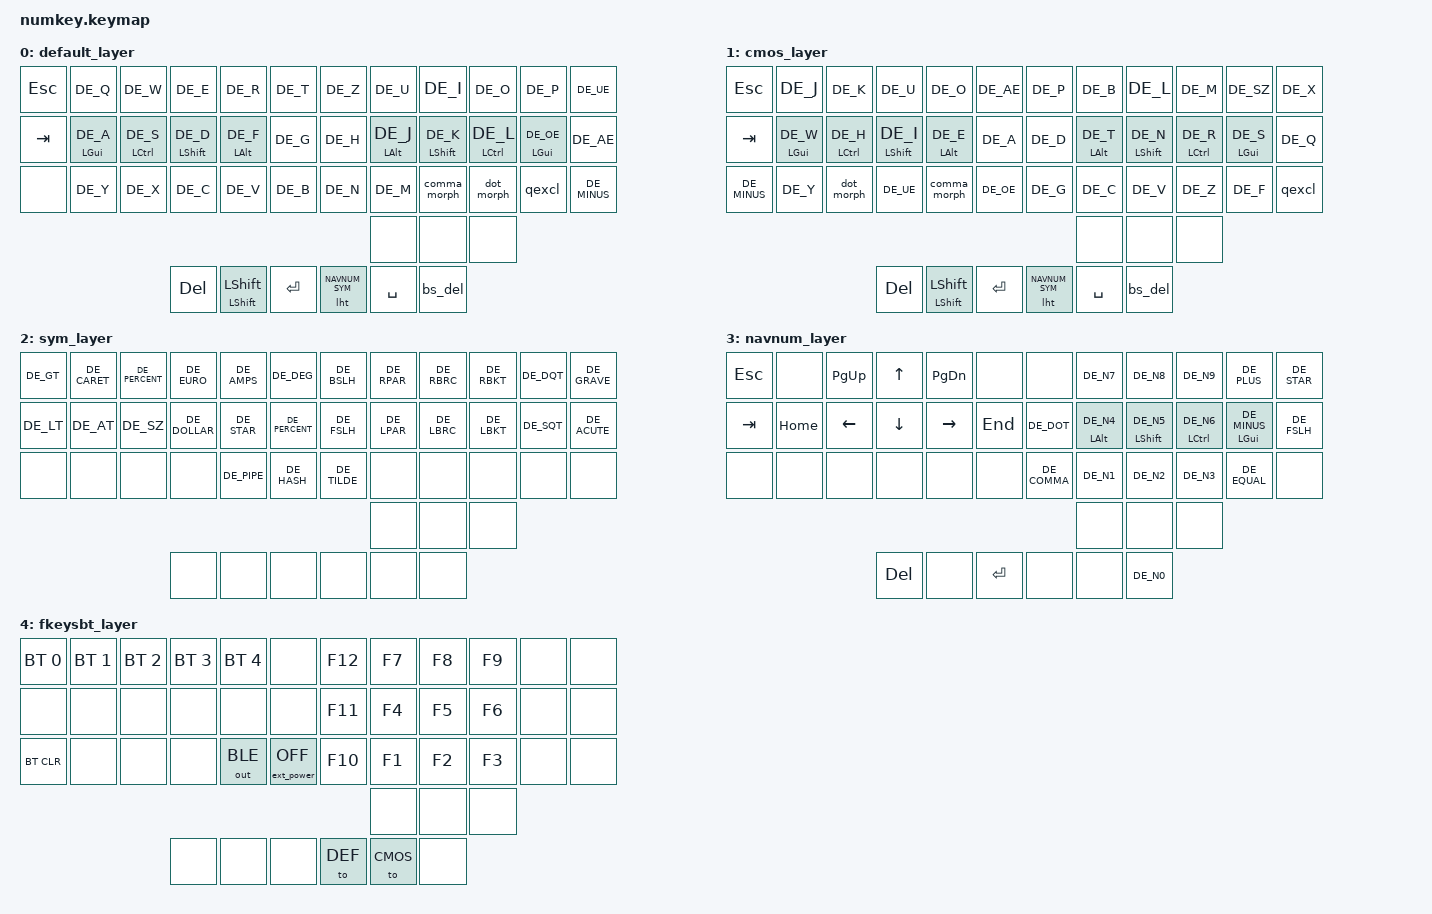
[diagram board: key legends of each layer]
#include <behaviors.dtsi>
#include <dt-bindings/zmk/bt.h>
#include <dt-bindings/zmk/ext_power.h>
#include <dt-bindings/zmk/outputs.h>
#include <dt-bindings/zmk/keys.h>

#include "keys_de.h"

#include "zmk-helpers/helper.h"
#include "numkey.h"

/* layer and key shortcuts */

#define ___ &trans
#define xxx &none

#define DEF 0// layer shortcuts, must match order in which they are defined below
#define CMOS 1
#define SYM 2
#define NAVNUM 3
#define FKEYBT 4


/* custom behaviors */

/* Global settings */

#define QUICK_TAP_MS 175

&sk {  // sticky-key config
    release-after-ms = <900>;  // release after 0.6s
    quick-release;             // no double capitalization when rolling keys
};

&sl {  // sticky-layer config
    ignore-modifiers;          // allow chording sticky mods & layers
};

&lt {  // layer-tap config
    flavor = "balanced";
    tapping-term-ms = <200>;
    quick-tap-ms = <QUICK_TAP_MS>;
};

/* Homerow mods */

#define KEYS_L LT0 LT1 LT2 LT3 LT4 LT5 LM0 LM1 LM2 LM3 LM4 LM5 LB0 LB1 LB2 LB3 LB4 LB5  // left hand
#define KEYS_R RT0 RT1 RT2 RT3 RT4 RT5 RM0 RM1 RM2 RM3 RM4 RM5 RB0 RB1 RB2 RB3 RB4 RB5 RN1 RN2 RN3// right hand
#define THUMBS LH2 LH1 LH0 RH0 RH1 RH2                                      // thumbs

ZMK_HOLD_TAP(hml,
    flavor = "balanced";
    tapping-term-ms = <200>;
    require-prior-idle-ms = <150>;
    hold-trigger-key-positions = <KEYS_R THUMBS>;
    hold-trigger-on-release;
    bindings = <&kp>, <&kp>;
)

ZMK_HOLD_TAP(hmr,
    flavor = "balanced";
    tapping-term-ms = <200>;
    require-prior-idle-ms = <150>;
    hold-trigger-key-positions = <KEYS_L THUMBS>;
    hold-trigger-on-release;
    bindings = <&kp>, <&kp>;
)

/* Key Mods */

// tap: copy | double-tap: cut
ZMK_TAP_DANCE(copy_cut,
    tapping-term-ms = <200>;
    bindings = <&kp LC(INS)>, <&kp LC(X)>;
)

// tap: sticky key| hold: keypress
ZMK_BEHAVIOR(ht, hold_tap,
    flavor = "balanced";
    tapping-term-ms = <200>;
    quick-tap-ms = <QUICK_TAP_MS>;
    bindings = <&kp>, <&sk>;
)

// tap: sticky layer | hold: change layer
ZMK_BEHAVIOR(lht, hold_tap,
    flavor = "balanced";
    tapping-term-ms = <200>;
    quick-tap-ms = <QUICK_TAP_MS>;
    bindings = <&mo>, <&sl>;
)

#define SIMPLE_MORPH(NAME, MOD, BINDING1, BINDING2) \
    ZMK_BEHAVIOR(NAME, mod_morph, \
        mods = <(MOD_L ## MOD|MOD_R ## MOD)>; \
        bindings = <BINDING1>, <BINDING2>; \
    )

// tap: backspace | shift + tap: delete
ZMK_BEHAVIOR(bs_del, mod_morph,
    bindings = <&kp BSPC>, <&kp DEL>;
    mods = <(MOD_LSFT|MOD_RSFT)>;
)

// tap: comma | shift + tap: semicolon
SIMPLE_MORPH(comma_morph, SFT, &kp DE_COMMA, &kp DE_SEMI)

// tap: dot | shift + tap: colon
SIMPLE_MORPH(dot_morph, SFT, &kp DE_DOT, &kp DE_COLON)

// tap: qmark | shift + tap: excl
SIMPLE_MORPH(qexcl, SFT, &kp DE_QMARK, &kp DE_EXCL)


// windows + right
ZMK_BEHAVIOR(winright, macro,
    bindings = <&macro_press &kp LGUI>, <&macro_tap &kp RIGHT>, <&macro_release &kp LGUI>;
)
// windows + left
ZMK_BEHAVIOR(winleft, macro,
    bindings = <&macro_press &kp LGUI>, <&macro_tap &kp LEFT>, <&macro_release &kp LGUI>;
)
// windows ctrl + right
ZMK_BEHAVIOR(winctrlright, macro,
    bindings = <&macro_press &kp LGUI>, <&macro_press &kp LCTRL>, <&macro_tap &kp RIGHT>, <&macro_release &kp LGUI>, <&macro_release &kp LCTRL>;
)
// windows + ctrl
ZMK_BEHAVIOR(winctrlleft, macro,
    bindings = <&macro_press &kp LGUI>,<&macro_press &kp LCTRL>, <&macro_tap &kp LEFT>, <&macro_release &kp LGUI>, <&macro_release &kp LCTRL>;
)
// windows + paste
ZMK_BEHAVIOR(winpaste, macro,
    bindings = <&macro_press &kp LGUI>, <&macro_tap &kp DE_V>, <&macro_release &kp LGUI>;
)

// combos
//#undef COMBO_TERM
//#define COMBO_TERM 75  // timeout of 75ms (default is 30ms if omitted)

ZMK_COMBO(combo_cut,         &kp LC(DE_X),  LB3 LB4, DEF SYM NAVNUM CMOS)  // Ctrl + X, active on all layers
ZMK_COMBO(combo_copy,         &kp LC(DE_C),  LB2 LB3, DEF SYM NAVNUM CMOS)  // Ctrl + C, active on all layers
ZMK_COMBO(combo_paste,        &kp LC(DE_V),  LB1 LB2, DEF SYM NAVNUM CMOS)  // Ctrl + V, active on all layers
ZMK_COMBO(combo_winpaste,     &winpaste,  LB0 LB1, DEF SYM NAVNUM CMOS)  // Win + V, active on all layers
ZMK_COMBO(combo_winctrlleft,  &winctrlleft,  RT1 RT2, DEF SYM NAVNUM CMOS)  // Win + CTRL + Left, active on all layers
ZMK_COMBO(combo_winctrlright, &winctrlright, RT2 RT3, DEF SYM NAVNUM CMOS)  // Win + CTRL + Right, active on all layers
ZMK_COMBO(combo_winright,     &winright,  LT2 LT3, DEF SYM NAVNUM CMOS)  // Win + Right, active on all layers
ZMK_COMBO(combo_winleft,      &winleft,  LT1 LT2, DEF SYM NAVNUM CMOS)  // Win + Left, active on all layers
ZMK_COMBO(combo_LT3,          &to FKEYBT,    RT4 RT5, DEF SYM NAVNUM CMOS)  //Always go to Layer FKEYS&BT

/* keymap */

ZMK_LAYER(default_layer,
     // ╭────────────────┬────────────────┬────────────────┬────────────────┬────────────────┬────────────────╮     ╭────────────────┬────────────────┬────────────────┬────────────────┬────────────────┬────────────────╮
         &kp ESC          &kp DE_Q         &kp DE_W         &kp DE_E         &kp DE_R         &kp DE_T               &kp DE_Z         &kp DE_U         &kp DE_I         &kp DE_O         &kp DE_P         &kp DE_UE
     // ├────────────────┬────────────────┼────────────────┼────────────────┼────────────────┼────────────────┤     ├────────────────┼────────────────┼────────────────┼────────────────┼────────────────┬────────────────┤
         &kp TAB          &hml LGUI DE_A   &hml LCTRL DE_S  &hml LSHFT DE_D  &hml LALT DE_F   &kp DE_G               &kp DE_H         &hmr LALT DE_J   &hmr LSHFT DE_K  &hmr LCTRL DE_L  &hmr LGUI DE_OE  &kp DE_AE
     // ├────────────────┬────────────────┼────────────────┼────────────────┼────────────────┼────────────────┤     ├────────────────┼────────────────┼────────────────┼────────────────┼────────────────┬────────────────┤
         xxx              &kp DE_Y         &kp DE_X         &kp DE_C         &kp DE_V         &kp DE_B               &kp DE_N         &kp DE_M         &comma_morph     &dot_morph       &qexcl           &kp DE_MINUS
     // ╰────────────────┬────────────────┼────────────────┼────────────────┼────────────────┼────────────────┤     ├────────────────┼────────────────┼────────────────┼────────────────┼────────────────┬────────────────╯
                                                                                                                                      xxx              xxx              xxx
     //                                                    ╰────────────────┼────────────────┼────────────────┤     ├────────────────┼────────────────┼────────────────┼────────────────╯
                                                            &kp DEL          &ht LSHFT LSHFT  &kp RET                &lht NAVNUM SYM  &kp SPACE        &bs_del
     //                                                    ╰────────────────┴────────────────┴────────────────╯     ╰────────────────┴────────────────┴────────────────╯
)

ZMK_LAYER(cmos_layer,
     // ╭────────────────┬────────────────┬────────────────┬────────────────┬────────────────┬────────────────╮     ╭────────────────┬────────────────┬────────────────┬────────────────┬────────────────┬────────────────╮
         &kp ESC          &kp DE_J         &kp DE_K         &kp DE_U         &kp DE_O         &kp DE_AE              &kp DE_P         &kp DE_B         &kp DE_L         &kp DE_M         &kp DE_SZ        &kp DE_X
     // ├────────────────┬────────────────┼────────────────┼────────────────┼────────────────┼────────────────┤     ├────────────────┼────────────────┼────────────────┼────────────────┼────────────────┬────────────────┤
         &kp TAB          &hml LGUI DE_W   &hml LCTRL DE_H  &hml LSHFT DE_I  &hml LALT DE_E   &kp DE_A               &kp DE_D         &hmr LALT DE_T   &hmr LSHFT DE_N  &hmr LCTRL DE_R  &hmr LGUI DE_S   &kp DE_Q
     // ├────────────────┬────────────────┼────────────────┼────────────────┼────────────────┼────────────────┤     ├────────────────┼────────────────┼────────────────┼────────────────┼────────────────┬────────────────┤
         &kp DE_MINUS     &kp DE_Y         &dot_morph       &kp DE_UE        &comma_morph     &kp DE_OE              &kp DE_G         &kp DE_C         &kp DE_V         &kp DE_Z         &kp DE_F         &qexcl
     // ╰────────────────┬────────────────┼────────────────┼────────────────┼────────────────┼────────────────┤     ├────────────────┼────────────────┼────────────────┼────────────────┼────────────────┬────────────────╯
                                                                                                                                      xxx              xxx              xxx
     //                                                    ╰────────────────┼────────────────┼────────────────┤     ├────────────────┼────────────────┼────────────────┼────────────────╯
                                                            &kp DEL          &ht LSHFT LSHFT  &kp RET                &lht NAVNUM SYM  &kp SPACE        &bs_del
     //                                                    ╰────────────────┴────────────────┴────────────────╯     ╰────────────────┴────────────────┴────────────────╯
)

ZMK_LAYER(sym_layer,
     // ╭─────────────┬─────────────┬─────────────┬─────────────┬─────────────┬─────────────╮   ╭─────────────┬─────────────┬─────────────┬─────────────┬─────────────┬─────────────╮
         &kp DE_GT     &kp DE_CARET &kp DE_PERCENT &kp DE_EURO   &kp DE_AMPS   &kp DE_DEG        &kp DE_BSLH   &kp DE_RPAR   &kp DE_RBRC   &kp DE_RBKT   &kp DE_DQT    &kp DE_GRAVE
     // ├─────────────┬─────────────┼─────────────┼─────────────┼─────────────┼─────────────┤   ├─────────────┼─────────────┼─────────────┼─────────────┼─────────────┬─────────────┤
         &kp DE_LT     &kp DE_AT     &kp DE_SZ     &kp DE_DOLLAR &kp DE_STAR   &kp DE_PERCENT    &kp DE_FSLH   &kp DE_LPAR   &kp DE_LBRC   &kp DE_LBKT   &kp DE_SQT    &kp DE_ACUTE
     // ├─────────────┬─────────────┼─────────────┼─────────────┼─────────────┼─────────────┤   ├─────────────┼─────────────┼─────────────┼─────────────┼─────────────┬─────────────┤
         xxx           xxx           xxx           xxx           &kp DE_PIPE   &kp DE_HASH       &kp DE_TILDE  xxx           xxx           xxx           xxx           xxx
     // ╰─────────────┬─────────────┼─────────────┼─────────────┼─────────────┼─────────────┤   ├─────────────┼─────────────┼─────────────┼─────────────┼─────────────┬─────────────╯
                                                                                                               xxx           xxx           xxx
     //                                           ╰─────────────┼─────────────┼─────────────┤   ├─────────────┼─────────────┼─────────────┼─────────────╯
                                                   xxx           xxx           xxx               xxx           xxx           xxx
     //                                           ╰─────────────┴─────────────┴─────────────╯   ╰─────────────┴─────────────┴─────────────╯
)

ZMK_LAYER(navnum_layer,
     // ╭────────────────┬────────────────┬────────────────┬────────────────┬────────────────┬────────────────╮     ╭────────────────┬────────────────┬────────────────┬────────────────┬────────────────┬────────────────╮
          &kp ESC         xxx              &kp PG_UP        &kp UP           &kp PG_DN        xxx                    xxx              &kp DE_N7        &kp DE_N8        &kp DE_N9        &kp DE_PLUS      &kp DE_STAR
     // ├────────────────┬────────────────┼────────────────┼────────────────┼────────────────┼────────────────┤     ├────────────────┼────────────────┼────────────────┼────────────────┼────────────────┬────────────────┤
          &kp TAB         &kp HOME         &kp LEFT         &kp DOWN         &kp RIGHT        &kp END                &kp DE_DOT       &hmr LALT DE_N4  &hmr LSHFT DE_N5 &hmr LCTRL DE_N6 &hmr LGUI DE_MINUS &kp DE_FSLH
     // ├────────────────┬────────────────┼────────────────┼────────────────┼────────────────┼────────────────┤     ├────────────────┼────────────────┼────────────────┼────────────────┼────────────────┬────────────────┤
          xxx             xxx              xxx              xxx              xxx              xxx                    &kp DE_COMMA     &kp DE_N1        &kp DE_N2        &kp DE_N3        &kp DE_EQUAL     xxx
     // ╰────────────────┬────────────────┼────────────────┼────────────────┼────────────────┼────────────────┤     ├────────────────┼────────────────┼────────────────┼────────────────┼────────────────┬────────────────╯
                                                                                                                                      xxx              xxx              xxx
     //                                                    ╰────────────────┼────────────────┼────────────────┤     ├────────────────┼────────────────┼────────────────┼────────────────╯
                                                            &kp DEL          xxx              &kp RET                xxx              xxx              &kp DE_N0
     //                                                    ╰────────────────┴────────────────┴────────────────╯     ╰────────────────┴────────────────┴────────────────╯
)

ZMK_LAYER(fkeysbt_layer,
     // ╭─────────────┬─────────────┬─────────────┬─────────────┬─────────────┬─────────────╮     ╭─────────────┬─────────────┬─────────────┬─────────────┬─────────────┬─────────────╮
         &bt BT_SEL 0  &bt BT_SEL 1  &bt BT_SEL 2  &bt BT_SEL 3  &bt BT_SEL 4  xxx                 &kp F12       &kp F7        &kp F8        &kp F9        xxx           xxx
     // ├─────────────┬─────────────┼─────────────┼─────────────┼─────────────┼─────────────┤     ├─────────────┼─────────────┼─────────────┼─────────────┼─────────────┬─────────────┤
         xxx           xxx           xxx           xxx           xxx           xxx                 &kp F11       &kp F4        &kp F5        &kp F6        xxx           xxx
     // ├─────────────┬─────────────┼─────────────┼─────────────┼─────────────┼─────────────┤     ├─────────────┼─────────────┼─────────────┼─────────────┼─────────────┬─────────────┤
         &bt BT_CLR    xxx           xxx           xxx           &out OUT_BLE  &ext_power EP_OFF   &kp F10       &kp F1        &kp F2        &kp F3        xxx           xxx
     // ╰─────────────┬─────────────┼─────────────┼─────────────┼─────────────┼─────────────┤     ├─────────────┼─────────────┼─────────────┼─────────────┼─────────────┬─────────────╯
                                                                                                                 xxx           xxx           xxx
     //                                           ╰─────────────┼─────────────┼─────────────┤     ├─────────────┼─────────────┼─────────────┼─────────────╯
                                                   xxx           xxx           xxx                 &to DEF       &to CMOS      xxx
     //                                           ╰─────────────┴─────────────┴─────────────╯     ╰─────────────┴─────────────┴─────────────╯
)

/*
ZMK_LAYER(noted_layer,
     // ╭────────────────┬────────────────┬────────────────┬────────────────┬────────────────┬────────────────╮     ╭────────────────┬────────────────┬────────────────┬────────────────┬────────────────┬────────────────╮
         &kp ESC          &kp DE_Z         &kp DE_Y         &kp DE_U         &kp DE_A         &kp DE_Q               &kp DE_P         &kp DE_B         &kp DE_M         &kp DE_L         &kp DE_F         &kp DE_J
     // ├────────────────┬────────────────┼────────────────┼────────────────┼────────────────┼────────────────┤     ├────────────────┼────────────────┼────────────────┼────────────────┼────────────────┬────────────────┤
         &kp TAB          &hml LGUI DE_C   &hml LCTRL DE_S  &hml LSHFT DE_I  &hml LALT DE_E   &kp DE_O               &kp DE_D         &hmr LALT DE_T   &hmr LSHFT DE_N  &hmr LCTRL DE_R  &hmr LGUI DE_H   &kp DE_SZ
     // ├────────────────┬────────────────┼────────────────┼────────────────┼────────────────┼────────────────┤     ├────────────────┼────────────────┼────────────────┼────────────────┼────────────────┬────────────────┤
         &kp DE_MINUS     &kp DE_V         &kp DE_X         &kp DE_UE        &kp DE_AE        &kp DE_OE              &kp DE_W         &kp DE_G         &comma_morph     &dot_morph       &kp DE_K         &qexcl
     // ╰────────────────┬────────────────┼────────────────┼────────────────┼────────────────┼────────────────┤     ├────────────────┼────────────────┼────────────────┼────────────────┼────────────────┬────────────────╯
                                                            ___              ___              ___                    ___              ___              ___             
     //                                                    ╰────────────────┴────────────────┴────────────────╯     ╰────────────────┴────────────────┴────────────────╯
)

ZMK_LAYER(koy_layer,
     // ╭────────────────┬────────────────┬────────────────┬────────────────┬────────────────┬────────────────╮     ╭────────────────┬────────────────┬────────────────┬────────────────┬────────────────┬────────────────╮
         &kp ESC          &kp DE_K         &dot_morph       &kp DE_O         &comma_morph     &kp DE_Y               &kp DE_V         &kp DE_G         &kp DE_C         &kp DE_L         &kp DE_F         &kp DE_Z
     // ├────────────────┬────────────────┼────────────────┼────────────────┼────────────────┼────────────────┤     ├────────────────┼────────────────┼────────────────┼────────────────┼────────────────┬────────────────┤
         &kp TAB          &hml LGUI DE_H   &hml LCTRL DE_A  &hml LSHFT DE_E  &hml LALT DE_I   &kp DE_U               &kp DE_D         &hmr LALT DE_T   &hmr LSHFT DE_R  &hmr LCTRL DE_N  &hmr LGUI DE_S   &kp DE_SZ
     // ├────────────────┬────────────────┼────────────────┼────────────────┼────────────────┼────────────────┤     ├────────────────┼────────────────┼────────────────┼────────────────┼────────────────┬────────────────┤
         &kp DE_MINUS     &kp DE_X         &kp DE_Q         &kp DE_AE        &kp DE_UE        &kp DE_OE              &kp DE_B         &kp DE_P         &kp DE_W         &kp DE_M         &kp DE_J         &qexcl
     // ╰────────────────┬────────────────┼────────────────┼────────────────┼────────────────┼────────────────┤     ├────────────────┼────────────────┼────────────────┼────────────────┼────────────────┬────────────────╯
                                                            ___              ___              ___                    ___              ___              ___             
     //                                                    ╰────────────────┴────────────────┴────────────────╯     ╰────────────────┴────────────────┴────────────────╯   
)

ZMK_LAYER(xoy_layer,
     // ╭────────────────┬────────────────┬────────────────┬────────────────┬────────────────┬────────────────╮     ╭────────────────┬────────────────┬────────────────┬────────────────┬────────────────┬────────────────╮
         &kp ESC          &kp DE_X         &dot_morph       &kp DE_O         &comma_morph     &kp DE_Y               &kp DE_P         &kp DE_F         &kp DE_S         &kp DE_L         &kp DE_W         &kp DE_Q
     // ├────────────────┬────────────────┼────────────────┼────────────────┼────────────────┼────────────────┤     ├────────────────┼────────────────┼────────────────┼────────────────┼────────────────┬────────────────┤
         &kp TAB          &hml LGUI DE_C   &hml LCTRL DE_A  &hml LSHFT DE_E  &hml LALT DE_I   &kp DE_U               &kp DE_D         &hmr LALT DE_T   &hmr LSHFT DE_N  &hmr LCTRL DE_R  &hmr LGUI DE_H   &kp DE_SZ
     // ├────────────────┬────────────────┼────────────────┼────────────────┼────────────────┼────────────────┤     ├────────────────┼────────────────┼────────────────┼────────────────┼────────────────┬────────────────┤
         &kp DE_MINUS     &kp DE_Z         &kp DE_AE        &kp DE_OE        &kp DE_V         &kp DE_UE              &kp DE_B         &kp DE_G         &kp DE_J         &kp DE_M         &kp DE_K         &qexcl
     // ╰────────────────┬────────────────┼────────────────┼────────────────┼────────────────┼────────────────┤     ├────────────────┼────────────────┼────────────────┼────────────────┼────────────────┬────────────────╯
                                                            ___              ___              ___                    ___              ___              ___             
     //                                                    ╰────────────────┴────────────────┴────────────────╯     ╰────────────────┴────────────────┴────────────────╯
)
*/
